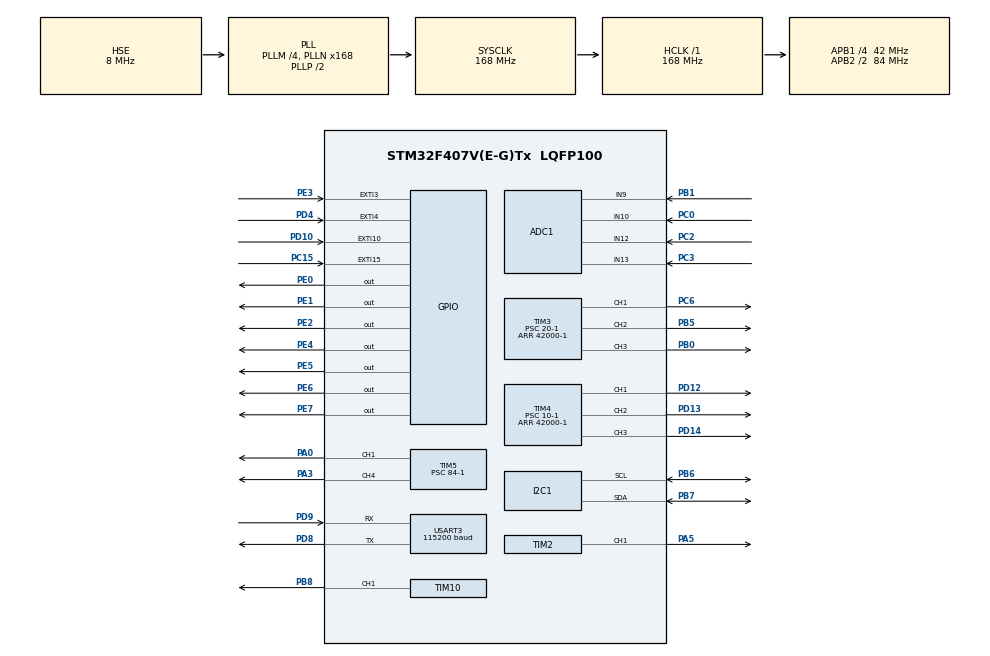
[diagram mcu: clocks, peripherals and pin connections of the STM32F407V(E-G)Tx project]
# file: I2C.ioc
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ADC1.Channel-0\#ChannelRegularConversion=ADC_CHANNEL_10
ADC1.Channel-1\#ChannelRegularConversion=ADC_CHANNEL_12
ADC1.Channel-2\#ChannelRegularConversion=ADC_CHANNEL_13
ADC1.Channel-3\#ChannelRegularConversion=ADC_CHANNEL_9
ADC1.ClockPrescaler=ADC_CLOCK_SYNC_PCLK_DIV4
ADC1.ContinuousConvMode=ENABLE
ADC1.DMAContinuousRequests=ENABLE
ADC1.NbrOfConversion=4
ADC1.NbrOfConversionFlag=1
ADC1.Rank-0\#ChannelRegularConversion=1
ADC1.Rank-1\#ChannelRegularConversion=2
ADC1.Rank-2\#ChannelRegularConversion=3
ADC1.Rank-3\#ChannelRegularConversion=4
ADC1.SamplingTime-0\#ChannelRegularConversion=ADC_SAMPLETIME_84CYCLES
ADC1.SamplingTime-1\#ChannelRegularConversion=ADC_SAMPLETIME_84CYCLES
ADC1.SamplingTime-2\#ChannelRegularConversion=ADC_SAMPLETIME_84CYCLES
ADC1.SamplingTime-3\#ChannelRegularConversion=ADC_SAMPLETIME_84CYCLES
ADC1.ScanConvMode=ENABLE
ADC1.master=1
Dma.ADC1.0.Direction=DMA_PERIPH_TO_MEMORY
Dma.ADC1.0.FIFOMode=DMA_FIFOMODE_DISABLE
Dma.ADC1.0.Instance=DMA2_Stream0
Dma.ADC1.0.MemDataAlignment=DMA_MDATAALIGN_HALFWORD
Dma.ADC1.0.MemInc=DMA_MINC_ENABLE
Dma.ADC1.0.Mode=DMA_CIRCULAR
Dma.ADC1.0.PeriphDataAlignment=DMA_PDATAALIGN_HALFWORD
Dma.ADC1.0.PeriphInc=DMA_PINC_DISABLE
Dma.ADC1.0.Priority=DMA_PRIORITY_LOW
Dma.Request0=ADC1
I2C1.I2C_Mode=I2C_Fast
Mcu.Family=STM32F4
Mcu.Name=STM32F407V(E-G)Tx
Mcu.Package=LQFP100
NVIC.DMA2_Stream0_IRQn=true\:0\:0\:false\:false\:true\:false\:true
NVIC.EXTI15_10_IRQn=true\:0\:0\:false\:false\:true\:true\:true
NVIC.EXTI3_IRQn=true\:0\:0\:false\:false\:true\:true\:true
NVIC.EXTI4_IRQn=true\:0\:0\:false\:false\:true\:true\:true
NVIC.PriorityGroup=NVIC_PRIORITYGROUP_4
NVIC.TIM7_IRQn=true\:0\:0\:false\:false\:true\:true\:true
NVIC.USART3_IRQn=true\:0\:0\:false\:false\:true\:true\:true
PA0-WKUP.Signal=S_TIM5_CH1
PA3.Signal=S_TIM5_CH4
PA5.Signal=S_TIM2_CH1_ETR
PB0.Signal=S_TIM3_CH3
PB1.Signal=ADCx_IN9
PB5.Signal=S_TIM3_CH2
PB6.Mode=I2C
PB6.Signal=I2C1_SCL
PB7.Mode=I2C
PB7.Signal=I2C1_SDA
PB8.Signal=S_TIM10_CH1
PC0.Signal=ADCx_IN10
PC15-OSC32_OUT.GPIO_ModeDefaultEXTI=GPIO_MODE_IT_RISING_FALLING
PC15-OSC32_OUT.Signal=GPXTI15
PC2.Signal=ADCx_IN12
PC3.Signal=ADCx_IN13
PC6.Signal=S_TIM3_CH1
PD10.GPIO_ModeDefaultEXTI=GPIO_MODE_IT_RISING_FALLING
PD10.Signal=GPXTI10
PD12.Signal=S_TIM4_CH1
PD13.Signal=S_TIM4_CH2
PD14.Signal=S_TIM4_CH3
PD4.GPIO_ModeDefaultEXTI=GPIO_MODE_IT_RISING_FALLING
PD4.Signal=GPXTI4
PD8.Mode=Asynchronous
PD8.Signal=USART3_TX
PD9.Mode=Asynchronous
PD9.Signal=USART3_RX
PE0.Signal=GPIO_Output
PE1.Signal=GPIO_Output
PE2.Signal=GPIO_Output
PE3.GPIO_ModeDefaultEXTI=GPIO_MODE_IT_RISING_FALLING
PE3.Signal=GPXTI3
PE4.Signal=GPIO_Output
PE5.Signal=GPIO_Output
PE6.Signal=GPIO_Output
PE7.Signal=GPIO_Output
PH0-OSC_IN.Mode=HSE-External-Oscillator
PH0-OSC_IN.Signal=RCC_OSC_IN
PH1-OSC_OUT.Mode=HSE-External-Oscillator
PH1-OSC_OUT.Signal=RCC_OSC_OUT
ProjectManager.HeapSize=0x200
ProjectManager.StackSize=0x400
ProjectManager.TargetToolchain=TrueSTUDIO
RCC.48MHZClocksFreq_Value=84000000
RCC.AHBFreq_Value=168000000
RCC.APB1CLKDivider=RCC_HCLK_DIV4
RCC.APB1Freq_Value=42000000
RCC.APB1TimFreq_Value=84000000
RCC.APB2CLKDivider=RCC_HCLK_DIV2
RCC.APB2Freq_Value=84000000
RCC.APB2TimFreq_Value=168000000
RCC.CortexFreq_Value=168000000
RCC.HCLKFreq_Value=168000000
RCC.HSE_VALUE=8000000
RCC.HSI_VALUE=16000000
RCC.LSE_VALUE=32768
RCC.PLLM=4
RCC.PLLN=168
RCC.PLLSourceVirtual=RCC_PLLSOURCE_HSE
RCC.SYSCLKFreq_VALUE=168000000
RCC.SYSCLKSource=RCC_SYSCLKSOURCE_PLLCLK
RCC.VCOOutputFreq_Value=336000000
SH.ADCx_IN10.0=ADC1_IN10,IN10
SH.ADCx_IN12.0=ADC1_IN12,IN12
SH.ADCx_IN13.0=ADC1_IN13,IN13
SH.ADCx_IN9.0=ADC1_IN9,IN9
SH.S_TIM10_CH1.0=TIM10_CH1,PWM Generation1 CH1
SH.S_TIM2_CH1_ETR.0=TIM2_CH1,PWM Generation1 CH1
SH.S_TIM3_CH1.0=TIM3_CH1,PWM Generation1 CH1
SH.S_TIM3_CH2.0=TIM3_CH2,PWM Generation2 CH2
SH.S_TIM3_CH3.0=TIM3_CH3,PWM Generation3 CH3
SH.S_TIM4_CH1.0=TIM4_CH1,PWM Generation1 CH1
SH.S_TIM4_CH2.0=TIM4_CH2,PWM Generation2 CH2
SH.S_TIM4_CH3.0=TIM4_CH3,PWM Generation3 CH3
SH.S_TIM5_CH1.0=TIM5_CH1,PWM Generation1 CH1
SH.S_TIM5_CH4.0=TIM5_CH4,PWM Generation4 CH4
TIM10.Channel=TIM_CHANNEL_1
TIM10.Period=10000-1
TIM10.Prescaler=336-1
TIM10.Pulse=100
TIM2.AutoReloadPreload=TIM_AUTORELOAD_PRELOAD_DISABLE
TIM2.Channel-PWM\ Generation1\ CH1=TIM_CHANNEL_1
TIM2.Period=1000-1
TIM2.Prescaler=168-1
TIM2.Pulse-PWM\ Generation1\ CH1=500
TIM3.Channel-PWM\ Generation1\ CH1=TIM_CHANNEL_1
TIM3.Channel-PWM\ Generation2\ CH2=TIM_CHANNEL_2
TIM3.Channel-PWM\ Generation3\ CH3=TIM_CHANNEL_3
TIM3.Period=42000-1
TIM3.Prescaler=20-1
TIM3.Pulse-PWM\ Generation1\ CH1=21000-1
TIM3.Pulse-PWM\ Generation2\ CH2=15000-1
TIM3.Pulse-PWM\ Generation3\ CH3=5250-1
TIM4.Channel-PWM\ Generation1\ CH1=TIM_CHANNEL_1
TIM4.Channel-PWM\ Generation2\ CH2=TIM_CHANNEL_2
TIM4.Channel-PWM\ Generation3\ CH3=TIM_CHANNEL_3
TIM4.Period=42000-1
TIM4.Prescaler=10-1
TIM4.Pulse-PWM\ Generation1\ CH1=21000-1
TIM4.Pulse-PWM\ Generation2\ CH2=10500-1
TIM4.Pulse-PWM\ Generation3\ CH3=5250-1
TIM5.Channel-PWM\ Generation1\ CH1=TIM_CHANNEL_1
TIM5.Channel-PWM\ Generation4\ CH4=TIM_CHANNEL_4
TIM5.Period=10000-1
TIM5.Prescaler=84-1
TIM5.Pulse-PWM\ Generation1\ CH1=5000
TIM7.AutoReloadPreload=TIM_AUTORELOAD_PRELOAD_ENABLE
TIM7.Period=8399
TIM7.Prescaler=9999
USART3.BaudRate=115200
USART3.VirtualMode=VM_ASYNC
VP_TIM10_VS_ClockSourceINT.Mode=Enable_Timer
VP_TIM2_VS_ClockSourceINT.Mode=Internal
VP_TIM3_VS_ClockSourceINT.Mode=Internal
VP_TIM4_VS_ClockSourceINT.Mode=Internal
VP_TIM5_VS_ClockSourceINT.Mode=Internal
VP_TIM7_VS_ClockSourceINT.Mode=Enable_Timer
board=custom

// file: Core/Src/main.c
/* USER CODE BEGIN Header */
/**
  ******************************************************************************
  * @file           : main.c
  * @brief          : Main program body
  ******************************************************************************
  * @attention
  *
  * <h2><center>&copy; Copyright (c) 2020 STMicroelectronics.
  * All rights reserved.</center></h2>
  *
  * This software component is licensed by ST under BSD 3-Clause license,
  * the "License"; You may not use this file except in compliance with the
  * License. You may obtain a copy of the License at:
  *                        opensource.org/licenses/BSD-3-Clause
  *
  ******************************************************************************
  */
/* USER CODE END Header */
#include "main.h"
#include "adc.h"
#include "dma.h"
#include "i2c.h"
#include "tim.h"
#include "usart.h"
#include "gpio.h"

/* USER CODE BEGIN Includes */
#include	<stdio.h>
#include	"clcd.h"
/* USER CODE END Includes */

/* USER CODE BEGIN PD */
#define	EEPROM_DATA_SIZE	10
#define	DEFAULT_TIME_OUT	10
#define	STR_BUF_SIZE		20
#define	DELAY_FOR_I2C		3
/* USER CODE END PD */

void SystemClock_Config(void);

int main(void)
{

  /* MCU Configuration--------------------------------------------------------*/

  /* Reset of all peripherals, Initializes the Flash interface and the Systick. */
  HAL_Init();

  /* Configure the system clock */
  SystemClock_Config();

  /* Initialize all configured peripherals */
  MX_GPIO_Init();
  MX_DMA_Init();
  MX_USART3_UART_Init();
  MX_TIM7_Init();
  MX_TIM3_Init();
  MX_TIM4_Init();
  MX_TIM10_Init();
  MX_TIM2_Init();
  MX_TIM5_Init();
  MX_ADC1_Init();
  MX_I2C1_Init();
  /* USER CODE BEGIN 2 */
  CLCD_GPIO_Init();
  CLCD_Init();
  /* USER CODE END 2 */

  /* Infinite loop */
  /* USER CODE BEGIN WHILE */
  uint8_t	str[STR_BUF_SIZE];
  uint8_t	eeprom[EEPROM_DATA_SIZE];// = {0x00,0x11,0x22,0x33,0x44,0x55,0x66,0x77,0x88,0x99};

  //HAL_I2C_Mem_Write(&hi2c1,0xA0,0x00,I2C_MEMADD_SIZE_8BIT,
  //    	  	  	  &eeprom[0],EEPROM_DATA_SIZE,DEFAULT_TIME_OUT);

  //HAL_Delay(DELAY_FOR_I2C);

  for(int i=0;i<EEPROM_DATA_SIZE;i++)
  {
	  eeprom[i] = 0xFF;
  }

  HAL_I2C_Mem_Read(&hi2c1,0xA0,0x00,I2C_MEMADD_SIZE_8BIT,
	  	    &eeprom[0],EEPROM_DATA_SIZE,DEFAULT_TIME_OUT);

  sprintf(str,"%02x %02x %02x %02x %02x",eeprom[0],eeprom[1],eeprom[2],eeprom[3],eeprom[4]);
  CLCD_Puts(0,0,str);

  sprintf(str,"%02x %02x %02x %02x %02x",eeprom[5],eeprom[6],eeprom[7],eeprom[8],eeprom[9]);
  CLCD_Puts(0,1,str);

  while (1)
  {

    /* USER CODE END WHILE */

  }
}

void SystemClock_Config(void)
{
  RCC_OscInitTypeDef RCC_OscInitStruct = {0};
  RCC_ClkInitTypeDef RCC_ClkInitStruct = {0};

  /** Configure the main internal regulator output voltage
  */
  __HAL_RCC_PWR_CLK_ENABLE();
  __HAL_PWR_VOLTAGESCALING_CONFIG(PWR_REGULATOR_VOLTAGE_SCALE1);
  /** Initializes the RCC Oscillators according to the specified parameters
  * in the RCC_OscInitTypeDef structure.
  */
  RCC_OscInitStruct.OscillatorType = RCC_OSCILLATORTYPE_HSE;
  RCC_OscInitStruct.HSEState = RCC_HSE_ON;
  RCC_OscInitStruct.PLL.PLLState = RCC_PLL_ON;
  RCC_OscInitStruct.PLL.PLLSource = RCC_PLLSOURCE_HSE;
  RCC_OscInitStruct.PLL.PLLM = 4;
  RCC_OscInitStruct.PLL.PLLN = 168;
  RCC_OscInitStruct.PLL.PLLP = RCC_PLLP_DIV2;
  RCC_OscInitStruct.PLL.PLLQ = 4;
  if (HAL_RCC_OscConfig(&RCC_OscInitStruct) != HAL_OK)
  {
    Error_Handler();
  }
  /** Initializes the CPU, AHB and APB buses clocks
  */
  RCC_ClkInitStruct.ClockType = RCC_CLOCKTYPE_HCLK|RCC_CLOCKTYPE_SYSCLK
                              |RCC_CLOCKTYPE_PCLK1|RCC_CLOCKTYPE_PCLK2;
  RCC_ClkInitStruct.SYSCLKSource = RCC_SYSCLKSOURCE_PLLCLK;
  RCC_ClkInitStruct.AHBCLKDivider = RCC_SYSCLK_DIV1;
  RCC_ClkInitStruct.APB1CLKDivider = RCC_HCLK_DIV4;
  RCC_ClkInitStruct.APB2CLKDivider = RCC_HCLK_DIV2;

  if (HAL_RCC_ClockConfig(&RCC_ClkInitStruct, FLASH_LATENCY_5) != HAL_OK)
  {
    Error_Handler();
  }
}

void Error_Handler(void)
{
}

/************************ (C) COPYRIGHT STMicroelectronics *****END OF FILE****/
